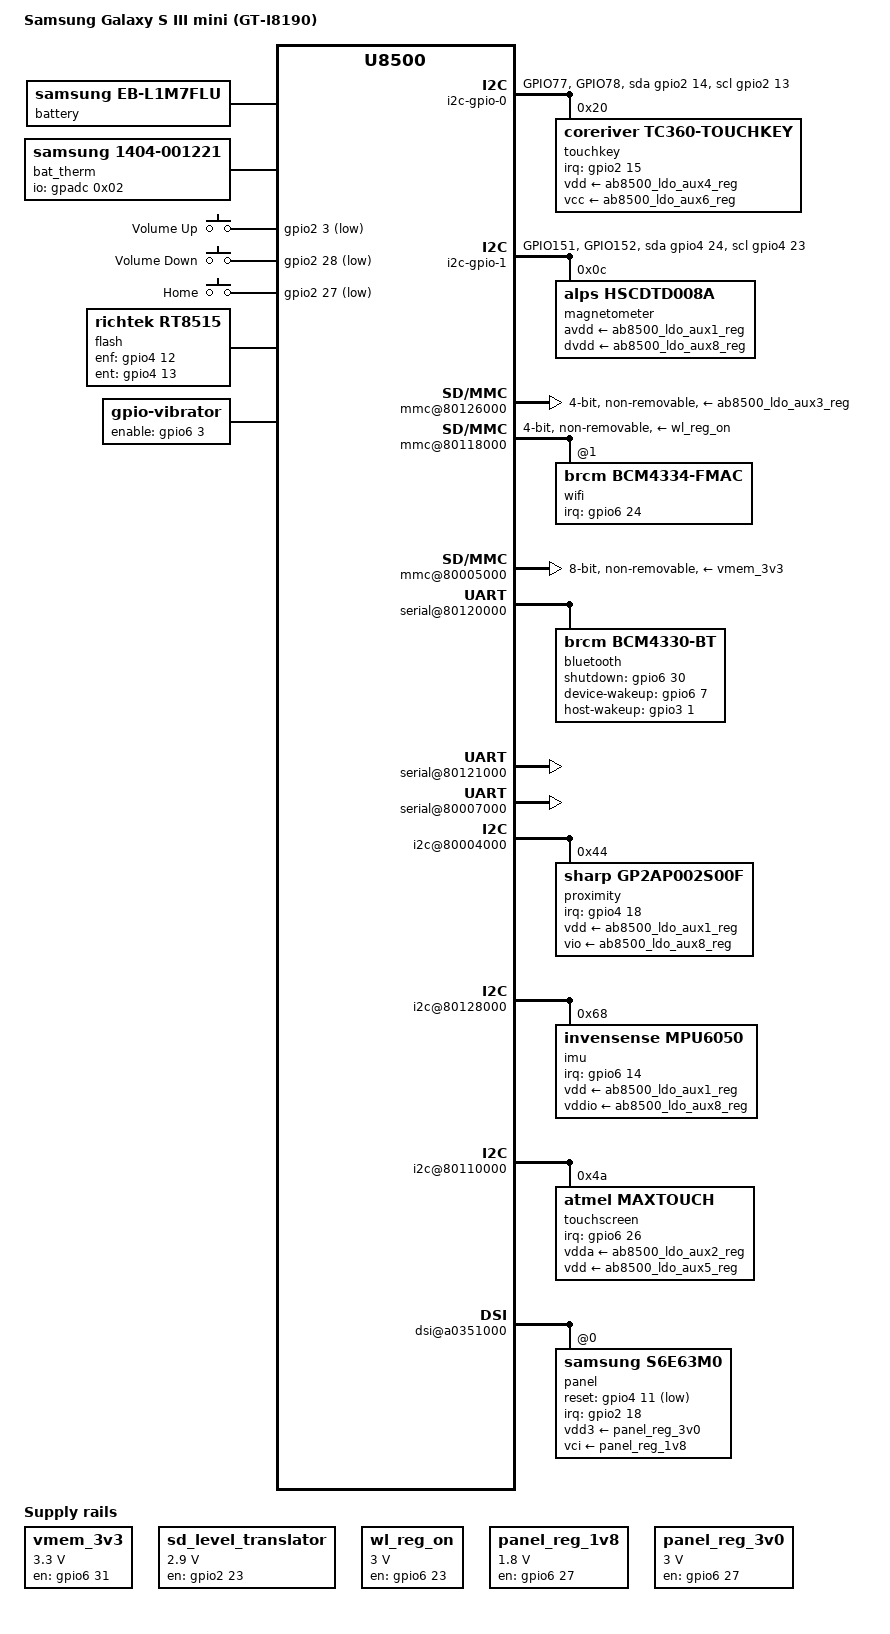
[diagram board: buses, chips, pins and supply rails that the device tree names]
// SPDX-License-Identifier: GPL-2.0-only
/dts-v1/;

#include "ste-db8500.dtsi"
#include "ste-ab8505.dtsi"
#include "ste-dbx5x0-pinctrl.dtsi"
#include <dt-bindings/gpio/gpio.h>
#include <dt-bindings/leds/common.h>
#include <dt-bindings/input/input.h>
#include <dt-bindings/interrupt-controller/irq.h>

/*
 * Note: This device tree cannot be booted directly with the Samsung bootloader.
 * You need an intermediate, device-tree compatible bootloader
 * that locks the L2 cache. Otherwise the kernel will crash after decompression.
 *
 * There is a port of (mainline) U-Boot, see
 * https://wiki.postmarketos.org/wiki/ST-Ericsson_NovaThor_U8500#U-Boot
 */
/ {
	model = "Samsung Galaxy S III mini (GT-I8190)";
	compatible = "samsung,golden", "st-ericsson,u8500";

	chosen {
		stdout-path = &serial2;
	};

	battery: battery {
		compatible = "samsung,eb-l1m7flu";
	};

	thermal-zones {
		battery-thermal {
			/* This zone will be polled by the battery temperature code */
			polling-delay = <0>;
			polling-delay-passive = <0>;
			thermal-sensors = <&bat_therm>;

			trips {
				battery-crit-hi {
					temperature = <70000>;
					hysteresis = <2000>;
					type = "critical";
				};
			};
		};
	};

	bat_therm: thermistor {
		compatible = "samsung,1404-001221";
		io-channels = <&gpadc 0x02>; /* BatTemp */
		pullup-uv = <1800000>;
		pullup-ohm = <230000>;
		pulldown-ohm = <0>;
		#thermal-sensor-cells = <0>;
	};

	i2c-gpio-0 {
		compatible = "i2c-gpio";
		sda-gpios = <&gpio2 14 (GPIO_ACTIVE_HIGH|GPIO_OPEN_DRAIN)>;
		scl-gpios = <&gpio2 13 (GPIO_ACTIVE_HIGH|GPIO_OPEN_DRAIN)>;

		pinctrl-names = "default";
		pinctrl-0 = <&i2c_gpio_0_default>;

		#address-cells = <1>;
		#size-cells = <0>;

		touchkey@20 {
			compatible = "coreriver,tc360-touchkey";
			reg = <0x20>;
			vdd-supply = <&ab8500_ldo_aux4_reg>;
			vcc-supply = <&ab8500_ldo_aux6_reg>;

			interrupt-parent = <&gpio2>;
			interrupts = <15 IRQ_TYPE_EDGE_FALLING>;

			pinctrl-names = "default";
			pinctrl-0 = <&touchkey_default>;
			linux,keycodes = <KEY_MENU KEY_BACK>;
		};
	};

	i2c-gpio-1 {
		compatible = "i2c-gpio";
		sda-gpios = <&gpio4 24 (GPIO_ACTIVE_HIGH|GPIO_OPEN_DRAIN)>;
		scl-gpios = <&gpio4 23 (GPIO_ACTIVE_HIGH|GPIO_OPEN_DRAIN)>;

		pinctrl-names = "default";
		pinctrl-0 = <&i2c_gpio_1_default>;

		#address-cells = <1>;
		#size-cells = <0>;

		magnetometer@c {
			compatible = "alps,hscdtd008a";
			reg = <0x0c>;

			avdd-supply = <&ab8500_ldo_aux1_reg>;
			dvdd-supply = <&ab8500_ldo_aux8_reg>;
		};
	};

	soc {
		/* External Micro SD card slot */
		mmc@80126000 {
			status = "okay";

			arm,primecell-periphid = <0x10480180>;
			max-frequency = <100000000>;
			bus-width = <4>;

			non-removable;
			/*
			 * Unfortunately, there is no way to enable the UHS
			 * modes due to a limitation of the SD level translator:
			 * It will either translate to 2.9V or disconnect the
			 * DATA lines, so switching to 1.8V signal voltage fails.
			 */
			cap-sd-highspeed;
			cap-mmc-highspeed;
			st,sig-pin-fbclk;
			full-pwr-cycle;

			vmmc-supply = <&ab8500_ldo_aux3_reg>;
			vqmmc-supply = <&sd_level_translator>;

			pinctrl-names = "default", "sleep";
			pinctrl-0 = <&mc0_a_2_default>;
			pinctrl-1 = <&mc0_a_2_sleep>;
		};

		/* WLAN SDIO */
		mmc@80118000 {
			status = "okay";

			arm,primecell-periphid = <0x10480180>;
			max-frequency = <50000000>;
			bus-width = <4>;

			non-removable;
			cap-sd-highspeed;

			vmmc-supply = <&wl_reg_on>;

			pinctrl-names = "default", "sleep";
			pinctrl-0 = <&mc1_a_2_default>;
			pinctrl-1 = <&mc1_a_2_sleep>;

			#address-cells = <1>;
			#size-cells = <0>;

			wifi@1 {
				compatible = "brcm,bcm4334-fmac", "brcm,bcm4329-fmac";
				reg = <1>;

				/* GPIO216 (WLAN_HOST_WAKE) */
				interrupt-parent = <&gpio6>;
				interrupts = <24 IRQ_TYPE_EDGE_FALLING>;
				interrupt-names = "host-wake";

				pinctrl-names = "default";
				pinctrl-0 = <&wlan_default>;
			};
		};

		/* eMMC */
		mmc@80005000 {
			status = "okay";

			arm,primecell-periphid = <0x10480180>;
			max-frequency = <100000000>;
			bus-width = <8>;

			non-removable;
			cap-mmc-highspeed;
			mmc-ddr-1_8v;
			no-sdio;
			no-sd;

			vmmc-supply = <&vmem_3v3>;

			pinctrl-names = "default", "sleep";
			pinctrl-0 = <&mc2_a_1_default>;
			pinctrl-1 = <&mc2_a_1_sleep>;
		};

		/* BT UART */
		serial@80120000 {
			status = "okay";

			pinctrl-names = "default", "sleep";
			pinctrl-0 = <&u0_a_1_default>;
			pinctrl-1 = <&u0_a_1_sleep>;

			bluetooth {
				/* BCM4334B0 actually */
				compatible = "brcm,bcm4330-bt";
				/* GPIO222 (BT_VREG_ON) */
				shutdown-gpios = <&gpio6 30 GPIO_ACTIVE_HIGH>;
				/* GPIO199 (BT_WAKE) */
				device-wakeup-gpios = <&gpio6 7 GPIO_ACTIVE_HIGH>;
				/* GPIO97 (BT_HOST_WAKE) */
				host-wakeup-gpios = <&gpio3 1 GPIO_ACTIVE_HIGH>;

				pinctrl-names = "default";
				pinctrl-0 = <&bluetooth_default>;
			};
		};

		/* GPF UART */
		serial@80121000 {
			status = "okay";

			pinctrl-names = "default", "sleep";
			pinctrl-0 = <&u1rxtx_a_1_default &u1ctsrts_a_1_default>;
			pinctrl-1 = <&u1rxtx_a_1_sleep &u1ctsrts_a_1_sleep>;
		};

		/* Debugging console UART */
		serial@80007000 {
			status = "okay";

			pinctrl-names = "default", "sleep";
			pinctrl-0 = <&u2rxtx_c_1_default>;
			pinctrl-1 = <&u2rxtx_c_1_sleep>;
		};

		i2c@80004000 {
			status = "okay";

			pinctrl-names = "default", "sleep";
			pinctrl-0 = <&i2c0_a_1_default>;
			pinctrl-1 = <&i2c0_a_1_sleep>;

			proximity@44 {
				compatible = "sharp,gp2ap002s00f";
				reg = <0x44>;

				/* GPIO146 (PS_INT) */
				interrupt-parent = <&gpio4>;
				interrupts = <18 IRQ_TYPE_EDGE_FALLING>;

				vdd-supply = <&ab8500_ldo_aux1_reg>;
				vio-supply = <&ab8500_ldo_aux8_reg>;

				pinctrl-names = "default";
				pinctrl-0 = <&proximity_default>;

				sharp,proximity-far-hysteresis = <0x40>;
				sharp,proximity-close-hysteresis = <0x0f>;
			};
		};

		i2c@80128000 {
			status = "okay";

			pinctrl-names = "default", "sleep";
			pinctrl-0 = <&i2c2_b_2_default>;
			pinctrl-1 = <&i2c2_b_2_sleep>;

			imu@68 {
				compatible = "invensense,mpu6050";
				reg = <0x68>;

				/* GPIO206 (ACC_INT) */
				interrupt-parent = <&gpio6>;
				interrupts = <14 IRQ_TYPE_EDGE_RISING>;

				mount-matrix = "0", "1", "0",
					      "-1", "0", "0",
					       "0", "0", "1";

				vdd-supply = <&ab8500_ldo_aux1_reg>;
				vddio-supply = <&ab8500_ldo_aux8_reg>;

				pinctrl-names = "default";
				pinctrl-0 = <&imu_default>;
			};
		};

		i2c@80110000 {
			status = "okay";

			pinctrl-names = "default", "sleep";
			pinctrl-0 = <&i2c3_c_2_default>;
			pinctrl-1 = <&i2c3_c_2_sleep>;

			touchscreen@4a {
				compatible = "atmel,maxtouch";
				reg = <0x4a>;

				/* GPIO218 (TSP_INT_1V8) */
				interrupt-parent = <&gpio6>;
				interrupts = <26 IRQ_TYPE_EDGE_FALLING>;

				/* VDDA is "analog supply", 2.57-3.47 V */
				vdda-supply = <&ab8500_ldo_aux2_reg>;
				/* VDD is "digital supply" 1.71-3.47V */
				vdd-supply = <&ab8500_ldo_aux5_reg>;

				pinctrl-names = "default";
				pinctrl-0 = <&tsp_default>;
			};
		};

		prcmu@80157000 {
			ab8505 {
				phy {
					pinctrl-names = "default", "sleep";
					pinctrl-0 = <&usb_a_1_default>;
					pinctrl-1 = <&usb_a_1_sleep>;
				};

				ab8500_fg {
					line-impedance-micro-ohms = <36000>;
				};

				regulator {
					ab8500_ldo_aux1 {
						regulator-name = "sensor_3v";
						regulator-min-microvolt = <3000000>;
						regulator-max-microvolt = <3000000>;
					};

					ab8500_ldo_aux2 {
						regulator-name = "vreg_tsp_a3v3";
						regulator-min-microvolt = <3300000>;
						regulator-max-microvolt = <3300000>;
					};

					ab8500_ldo_aux3 {
						regulator-name = "vdd_tf_2v91";
					};

					ab8500_ldo_aux4 {
						regulator-name = "key_led_3.3v";
						regulator-min-microvolt = <3300000>;
						regulator-max-microvolt = <3300000>;
					};

					ab8500_ldo_aux5 {
						regulator-name = "vreg_tsp_1v8";
						regulator-min-microvolt = <1800000>;
						regulator-max-microvolt = <1800000>;
					};

					ab8500_ldo_aux6 {
						regulator-name = "touch_key_2.2v";
						regulator-min-microvolt = <2200000>;
						regulator-max-microvolt = <2200000>;
					};

					ab8500_ldo_aux8 {
						regulator-name = "sensor_1v8";
					};
				};
			};
		};

		mcde@a0350000 {
			status = "okay";
			pinctrl-names = "default";
			pinctrl-0 = <&dsi_default_mode>;

			dsi@a0351000 {
				panel@0 {
					compatible = "samsung,s6e63m0";
					reg = <0>;
					max-brightness = <15>;
					vdd3-supply = <&panel_reg_3v0>;
					vci-supply = <&panel_reg_1v8>;
					reset-gpios = <&gpio4 11 GPIO_ACTIVE_LOW>;
					/* ESD (electrostatic discharge) detection interrupt */
					interrupt-parent = <&gpio2>;
					interrupts = <18 IRQ_TYPE_EDGE_RISING>;
					interrupt-names = "esd";
					pinctrl-names = "default";
					pinctrl-0 = <&display_default_mode>;
				};
			};
		};
	};

	gpio-keys {
		compatible = "gpio-keys";

		pinctrl-names = "default";
		pinctrl-0 = <&gpio_keys_default>;

		label = "GPIO Buttons";

		volume-up {
			label = "Volume Up";
			/* GPIO67 (VOL_UP) */
			gpios = <&gpio2 3 GPIO_ACTIVE_LOW>;
			linux,code = <KEY_VOLUMEUP>;
		};

		volume-down {
			label = "Volume Down";
			/* GPIO92 (VOL_DOWN) */
			gpios = <&gpio2 28 GPIO_ACTIVE_LOW>;
			linux,code = <KEY_VOLUMEDOWN>;
		};

		home {
			label = "Home";
			/* GPIO91 (HOME_KEY) */
			gpios = <&gpio2 27 GPIO_ACTIVE_LOW>;
			linux,code = <KEY_HOMEPAGE>;
		};
	};

	/* Richtek RT8515GQW Flash LED Driver IC */
	flash {
		compatible = "richtek,rt8515";
		/* GPIO 140 */
		enf-gpios = <&gpio4 12 GPIO_ACTIVE_HIGH>;
		/* GPIO 141 */
		ent-gpios = <&gpio4 13 GPIO_ACTIVE_HIGH>;
		/*
		 * RFS is 16 kOhm and RTS is 100 kOhm giving
		 * the flash max current 343mA and torch max
		 * current 55 mA.
		 */
		richtek,rfs-ohms = <16000>;
		richtek,rts-ohms = <100000>;
		pinctrl-names = "default";
		pinctrl-0 = <&gpio_flash_default_mode>;

		led {
			function = LED_FUNCTION_FLASH;
			color = <LED_COLOR_ID_WHITE>;
			flash-max-timeout-us = <250000>;
			flash-max-microamp = <343750>;
			led-max-microamp = <55000>;
		};
	};

	vibrator {
		compatible = "gpio-vibrator";
		/* GPIO195 (MOT_EN) */
		enable-gpios = <&gpio6 3 GPIO_ACTIVE_HIGH>;

		pinctrl-names = "default";
		pinctrl-0 = <&vibrator_default>;
	};

	/* External LDO for eMMC */
	vmem_3v3: regulator-vmem {
		compatible = "regulator-fixed";

		regulator-name = "vmem_3v3";
		regulator-min-microvolt = <3300000>;
		regulator-max-microvolt = <3300000>;
		regulator-boot-on;

		startup-delay-us = <200>;

		/* GPIO223 (MEM_LDO_EN) */
		gpio = <&gpio6 31 GPIO_ACTIVE_HIGH>;
		enable-active-high;

		pinctrl-names = "default";
		pinctrl-0 = <&mem_ldo_default>;
	};

	/* TI TXS0206-29 level translator for 2.9 V */
	sd_level_translator: regulator-sd-level-translator {
		compatible = "regulator-fixed";

		regulator-name = "sd-level-translator";
		regulator-min-microvolt = <2900000>;
		regulator-max-microvolt = <2900000>;

		startup-delay-us = <200>;

		/* GPIO87 (TXS0206-29_EN) */
		gpios = <&gpio2 23 GPIO_ACTIVE_HIGH>;
		enable-active-high;

		pinctrl-names = "default";
		pinctrl-0 = <&sd_level_translator_default>;
	};

	/*
	 * WL_REG_ON takes WLAN out of reset and enables the internal regulators.
	 * The voltage specified here is only used to determine the OCR mask,
	 * the BCM chip is actually connected directly to VBAT.
	 */
	wl_reg_on: regulator-wl-reg-on {
		compatible = "regulator-fixed";

		regulator-name = "wl-reg-on";
		regulator-min-microvolt = <3000000>;
		regulator-max-microvolt = <3000000>;

		startup-delay-us = <100000>;

		/* GPIO215 (WLAN_EN) */
		gpio = <&gpio6 23 GPIO_ACTIVE_HIGH>;
		enable-active-high;

		pinctrl-names = "default";
		pinctrl-0 = <&wlan_en_default>;
	};

	/* MIC5366 GPIO-controlled regulator */
	panel_reg_1v8: regulator-panel-1v8 {
		compatible = "regulator-fixed";

		regulator-name = "panel-fixed-supply";
		regulator-min-microvolt = <1800000>;
		regulator-max-microvolt = <1800000>;
		/* GPIO219 */
		gpio = <&gpio6 27 GPIO_ACTIVE_HIGH>;

		startup-delay-us = <200>;
		enable-active-high;

		pinctrl-names = "default";
		pinctrl-0 = <&panel_reg_default_mode>;
	};

	/* MIC5366 GPIO-controlled regulator */
	panel_reg_3v0: regulator-panel-3v0 {
		compatible = "regulator-fixed";

		regulator-name = "panel-fixed-supply";
		regulator-min-microvolt = <3000000>;
		regulator-max-microvolt = <3000000>;
		/* GPIO219 */
		gpio = <&gpio6 27 GPIO_ACTIVE_HIGH>;

		startup-delay-us = <200>;
		enable-active-high;

		pinctrl-names = "default";
		pinctrl-0 = <&panel_reg_default_mode>;
	};
};

&pinctrl {
	gpio-keys {
		gpio_keys_default: gpio_keys_default {
			golden_cfg1 {
				pins = "GPIO67",	/* VOL_UP */
				       "GPIO91",	/* HOME_KEY */
				       "GPIO92";	/* VOL_DOWN */
				ste,config = <&gpio_in_pu>;
			};
		};
	};

	i2c-gpio-0 {
		i2c_gpio_0_default: i2c_gpio_0 {
			golden_cfg1 {
				pins = "GPIO77",	/* TOUCHKEY_SCL */
				       "GPIO78";	/* TOUCHKEY_SDA */
				ste,config = <&gpio_in_nopull>;
			};
		};
	};

	flash {
		gpio_flash_default_mode: flash_default {
			golden_cfg1 {
				pins = "GPIO140_B11", "GPIO141_C12";
				ste,config = <&gpio_out_lo>;
			};
		};
	};

	i2c-gpio-1 {
		i2c_gpio_1_default: i2c_gpio_1 {
			golden_cfg1 {
				pins = "GPIO151",	/* COMP_SCL */
				       "GPIO152";	/* COMP_SDA */
				ste,config = <&gpio_in_nopull>;
			};
		};
	};

	touchkey {
		touchkey_default: touchkey_default {
			golden_cfg1 {
				pins = "GPIO79";	/* TOUCHKEY_INT */
				ste,config = <&gpio_in_nopull>;
			};
		};
	};

	sdi0 {
		sd_level_translator_default: sd_level_translator_default {
			golden_cfg1 {
				pins = "GPIO87_B3";	/* TXS0206-29_EN */
				ste,config = <&gpio_out_lo>;
			};
		};
	};

	sdi2 {
		mem_ldo_default: mem_ldo_default {
			golden_cfg1 {
				pins = "GPIO223_AH9";	/* MEM_LDO_EN */
				ste,config = <&gpio_out_hi>;
			};
		};
	};

	mcde {
		dsi_default_mode: dsi_default {
			default_mux1 {
				/* Mux in VSI0 used for DSI TE */
				function = "lcd";
				groups =
				"lcdvsi0_a_1"; /* VSI0 for LCD */
			};
			default_cfg1 {
				pins =
				"GPIO68_E1"; /* VSI0 */
				ste,config = <&in_nopull>;
			};
		};
	};

	display {
		display_default_mode: display_default {
			golden_cfg1 {
				pins = "GPIO139_C9"; /* MIPI_DSI0_RESET_N */
				ste,config = <&gpio_out_lo>;
			};
			golden_cfg2 {
				pins = "GPIO82_C1"; /* LDI_ESD_DET */
				ste,config = <&gpio_in_pu>;
			};
		};
		panel_reg_default_mode: panel_reg_default {
			golden_cfg1 {
				pins = "GPIO219_AG10"; /* LCD_PWR_EN */
				ste,config = <&gpio_out_lo>;
			};
		};
	};

	proximity {
		proximity_default: proximity_default {
			golden_cfg1 {
				pins = "GPIO146_D13";	/* PS_INT */
				ste,config = <&gpio_in_nopull>;
			};
		};
	};

	imu {
		imu_default: imu_default {
			golden_cfg1 {
				pins = "GPIO206_AG24";	/* ACC_INT */
				ste,config = <&gpio_in_pd>;
			};
		};
	};

	tsp {
		tsp_default: tsp_default {
			golden_cfg1 {
				pins = "GPIO218_AH11";	/* TSP_INT_1V8 */
				ste,config = <&gpio_in_nopull>;
			};
		};
	};

	wlan {
		wlan_default: wlan_default {
			golden_cfg1 {
				pins = "GPIO216_AG12";	/* WLAN_HOST_WAKE */
				ste,config = <&gpio_in_pd>;
			};
		};

		wlan_en_default: wlan_en_default {
			golden_cfg1 {
				pins = "GPIO215_AH13";	/* WLAN_EN */
				ste,config = <&gpio_out_lo>;
			};
		};
	};

	bluetooth {
		bluetooth_default: bluetooth_default {
			golden_cfg1 {
				pins = "GPIO199_AH23",	/* BT_WAKE */
				       "GPIO222_AJ9";	/* BT_VREG_ON */
				ste,config = <&gpio_out_lo>;
			};
			golden_cfg2 {
				pins = "GPIO97_D9";	/* BT_HOST_WAKE */
				ste,config = <&gpio_in_nopull>;
			};
		};
	};

	vibrator {
		vibrator_default: vibrator_default {
			golden_cfg1 {
				pins = "GPIO195_AG28";	/* MOT_EN */
				ste,config = <&gpio_out_lo>;
			};
		};
	};
};

&ab8505_gpio {
	/* Hog a few default settings */
	pinctrl-names = "default";
	pinctrl-0 = <&gpio_default>;

	gpio {
		gpio_default: gpio_default {
			golden_mux {
				/* Change unused pins to GPIO mode */
				function = "gpio";
				groups = "gpio3_a_1",	/* default: SysClkReq4 */
					 "gpio14_a_1";	/* default: PWMOut1 */
			};
			golden_cfg1 {
				pins = "GPIO11_B17", "GPIO13_D17", "GPIO50_L4";
				bias-disable;
			};
		};
	};
};
